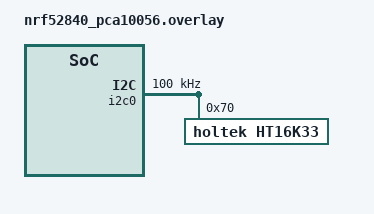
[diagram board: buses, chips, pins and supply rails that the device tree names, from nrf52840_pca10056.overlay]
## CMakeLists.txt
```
# SPDX-License-Identifier: Apache-2.0

cmake_minimum_required(VERSION 3.28.0)

find_package(Zephyr REQUIRED HINTS $ENV{ZEPHYR_BASE})
project(ht16k33)

FILE(GLOB app_sources src/*.c)
target_sources(app PRIVATE ${app_sources})
```

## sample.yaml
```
sample:
  description: Demonstration of the HT16K33 LED driver with keyscan
  name: HT16K33 sample
tests:
  sample.drivers.ht16k33:
    platform_allow:
      - nrf52840dk/nrf52840
      - adafruit_qt_py_rp2040/rp2040
    extra_args:
      - platform:adafruit_qt_py_rp2040/rp2040:SHIELD="adafruit_ht16k33"
    harness: TBD
    tags: LED
```

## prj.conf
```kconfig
CONFIG_LOG=y
CONFIG_I2C=y
CONFIG_LED=y
CONFIG_INPUT=y
CONFIG_INPUT_EVENT_DUMP=y
CONFIG_HT16K33_KEYSCAN=y
```

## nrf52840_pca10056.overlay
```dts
/*
 * Copyright (c) 2019 Henrik Brix Andersen <henrik@brixandersen.dk>
 *
 * SPDX-License-Identifier: Apache-2.0
 */

&i2c0 {
	clock-frequency = <I2C_BITRATE_STANDARD>;

	ht16k33@70 {
		compatible = "holtek,ht16k33";
		reg = <0x70>;
		label = "HT16K33";
                /* Uncomment to use IRQ instead of polling: */
		/* irq-gpios = <&gpio1 8 (GPIO_PUD_PULL_UP | GPIO_ACTIVE_LOW)>; */
		#address-cells = <1>;
		#size-cells = <0>;

		ks@0 {
			compatible = "holtek,ht16k33-keyscan";
			reg = <0x0>;
			label = "KS0";
		};
		ks@1 {
			compatible = "holtek,ht16k33-keyscan";
			reg = <0x1>;
			label = "KS1";
		};
		ks@2 {
			compatible = "holtek,ht16k33-keyscan";
			reg = <0x2>;
			label = "KS2";
		};
	};
};
```

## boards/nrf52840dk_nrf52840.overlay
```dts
/*
 * Copyright (c) 2019 Henrik Brix Andersen <henrik@brixandersen.dk>
 *
 * SPDX-License-Identifier: Apache-2.0
 */

&i2c0 {
	clock-frequency = <I2C_BITRATE_STANDARD>;

	ht16k33@70 {
		compatible = "holtek,ht16k33";
		reg = <0x70>;
		/* Uncomment to use IRQ instead of polling: */
		/* irq-gpios = <&gpio1 8 (GPIO_PULL_UP | GPIO_ACTIVE_LOW)>; */
	};
};
```

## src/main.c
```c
/*
 * Copyright (c) 2019 Henrik Brix Andersen <henrik@brixandersen.dk>
 *
 * SPDX-License-Identifier: Apache-2.0
 */

#include <zephyr/drivers/led.h>
#include <zephyr/devicetree.h>
#include <zephyr/kernel.h>
#include <zephyr/logging/log.h>

LOG_MODULE_REGISTER(main, CONFIG_LOG_DEFAULT_LEVEL);

#define LED_NODE DT_COMPAT_GET_ANY_STATUS_OKAY(holtek_ht16k33)

int main(void)
{
	const struct device *const led = DEVICE_DT_GET(LED_NODE);
	int i;

	if (!device_is_ready(led)) {
		LOG_ERROR("LED device not ready");
		return 0;
	}

	while (1) {
		LOG_INF("Iterating through all LEDs, turning them on "
			"one-by-one");
		for (i = 0; i < 128; i++) {
			led_on(led, i);
			k_sleep(K_MSEC(100));
		}

		for (i = 500; i <= 2000; i *= 2) {
			LOG_INF("Blinking LEDs with a period of %d ms", i);
			led_blink(led, 0, i / 2, i / 2);
			k_msleep(10 * i);
		}
		led_blink(led, 0, 0, 0);

		for (i = 100; i >= 0; i -= 10) {
			LOG_INF("Setting LED brightness to %d%%", i);
			led_set_brightness(led, 0, i);
			k_sleep(K_MSEC(1000));
		}

		LOG_INF("Turning all LEDs off and restoring 100%% brightness");
		for (i = 0; i < 128; i++) {
			led_off(led, i);
		}
		led_set_brightness(led, 0, 100);
	}
	return 0;
}
```
